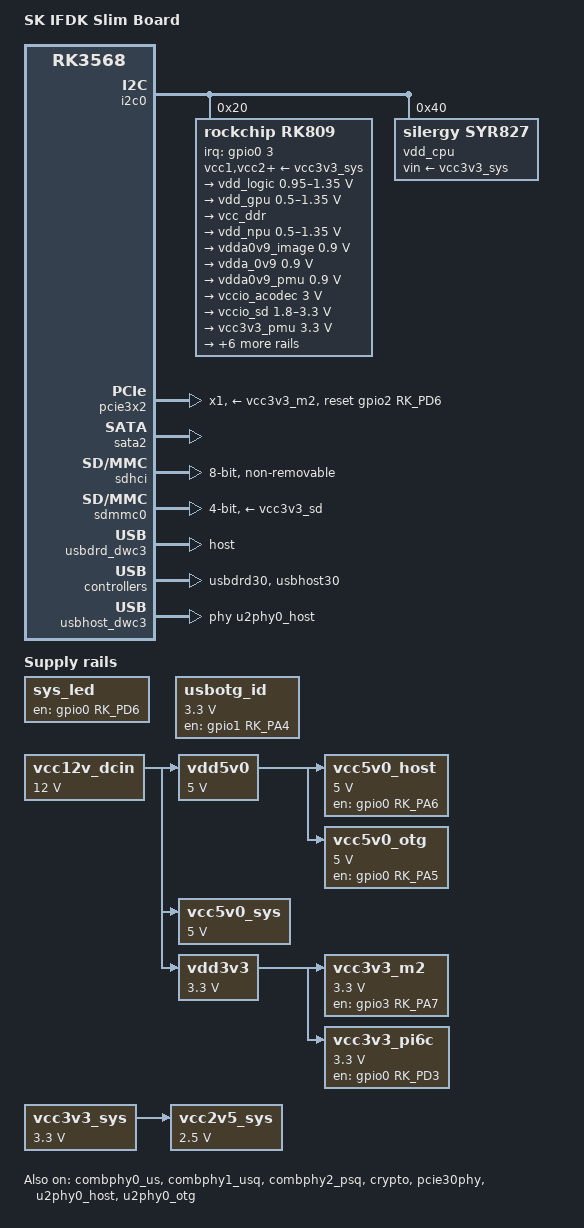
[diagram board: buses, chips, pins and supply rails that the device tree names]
// SPDX-License-Identifier: (GPL-2.0+ OR MIT)
/*
* Copyright (c) 2020 Rockchip Electronics Co., Ltd.
* Copyright (c) 2025 Sergey Kharenko
*/

/dts-v1/;

#include "rk3568.dtsi"
#include "rk3568-u-boot.dtsi"
#include <dt-bindings/input/input.h>

/ {
	model = "SK IFDK Slim Board";
	compatible = "sk,ifdk-slim", "rockchip,rk3568";

    aliases {
		mmc0 = &sdhci;
        mmc1 = &sdmmc0;
		scsi = &sata2;
	};

	sys_led: sys-led {
		u-boot,dm-pre-reloc;
		compatible = "regulator-fixed";
        regulator-boot-on;
		regulator-name = "sys_led";
		enable-active-high;
        pinctrl-names = "default";
		pinctrl-0 = <&sys_led_pin>;
		gpios = <&gpio0 RK_PD6 GPIO_ACTIVE_HIGH>;
	};

	usbotg_id: usbotg-id {
        u-boot,dm-pre-reloc;
        compatible = "regulator-fixed";
        regulator-always-on;
		regulator-boot-on;
        regulator-name = "usbotg_id";
        regulator-min-microvolt = <3300000>;
        regulator-max-microvolt = <3300000>;
        enable-active-high;
		pinctrl-names = "default";
		pinctrl-0 = <&usbotg_en>;
		gpios = <&gpio1 RK_PA4 GPIO_ACTIVE_HIGH>;
	};

	vcc12v_dcin: vcc12v-dcin-regulator {
        u-boot,dm-pre-reloc;
		compatible = "regulator-fixed";
		regulator-name = "vcc12v_dcin";
		regulator-always-on;
		regulator-boot-on;
		regulator-min-microvolt = <12000000>;
		regulator-max-microvolt = <12000000>;
        vin-supply = <&vcc12v_dcin>;
	};

    vdd5v0: vdd5v0 {
        u-boot,dm-pre-reloc;
        compatible = "regulator-fixed";
        regulator-name = "vdd5v0";
        regulator-always-on;
        regulator-boot-on;
        regulator-min-microvolt = <5000000>;
        regulator-max-microvolt = <5000000>;
        vin-supply = <&vcc12v_dcin>;
    };

    vcc5v0_host: vcc5v0-host {
        u-boot,dm-pre-reloc;
		compatible = "regulator-fixed";
        regulator-always-on;
		regulator-boot-on;
		regulator-name = "vcc5v0_host";
		regulator-min-microvolt = <5000000>;
		regulator-max-microvolt = <5000000>;
		pinctrl-names = "default";
		pinctrl-0 = <&usbhost_pwren>;
        enable-active-high;
		gpios = <&gpio0 RK_PA6 GPIO_ACTIVE_HIGH>;
		vin-supply = <&vdd5v0>;
	};

	vcc5v0_otg: vcc5v0-otg {
        u-boot,dm-pre-reloc;
		compatible = "regulator-fixed";
		regulator-always-on;
		regulator-boot-on;
		regulator-name = "vcc5v0_otg";
		regulator-min-microvolt = <5000000>;
		regulator-max-microvolt = <5000000>;
		pinctrl-names = "default";
		pinctrl-0 = <&usbotg_pwren>;
		enable-active-high;
		gpios = <&gpio0 RK_PA5 GPIO_ACTIVE_HIGH>;
		vin-supply = <&vdd5v0>;
	};

    vcc5v0_sys: vcc5v0-sys {
        u-boot,dm-pre-reloc;
        compatible = "regulator-fixed";
        regulator-name = "vcc5v0_sys";
        regulator-always-on;
        regulator-boot-on;
        regulator-min-microvolt = <5000000>;
        regulator-max-microvolt = <5000000>;
        vin-supply = <&vcc12v_dcin>;
    };

    vcc3v3_sys: vcc3v3-sys {
        u-boot,dm-pre-reloc;
        compatible = "regulator-fixed";
        regulator-name = "vcc3v3_sys";
        regulator-always-on;
        regulator-boot-on;
        regulator-min-microvolt = <3300000>;
        regulator-max-microvolt = <3300000>;
    };

    vdd3v3: vdd3v3 {
        u-boot,dm-pre-reloc;
        compatible = "regulator-fixed";
		regulator-always-on;
        regulator-boot-on;
		regulator-name = "vdd3v3";
        regulator-min-microvolt = <3300000>;
        regulator-max-microvolt = <3300000>;
        vin-supply = <&vcc12v_dcin>;
    };

    vcc3v3_m2: vcc3v3-m2 {
        u-boot,dm-pre-reloc;
        compatible = "regulator-fixed";
        regulator-always-on;
		regulator-boot-on;
        regulator-name = "vcc3v3_m2";
        regulator-min-microvolt = <3300000>;
        regulator-max-microvolt = <3300000>;
        enable-active-high;
		pinctrl-names = "default";
		pinctrl-0 = <&m2_pwren>;
		gpios = <&gpio3 RK_PA7 GPIO_ACTIVE_HIGH>;
        startup-delay-us = <5000>;
        vin-supply = <&vdd3v3>;
    };

    vcc3v3_pi6c: vcc3v3-pi6c {
        u-boot,dm-pre-reloc;
        compatible = "regulator-fixed";
		regulator-boot-on;
		regulator-always-on;
        regulator-name = "vcc3v3_pi6c";
        regulator-min-microvolt = <3300000>;
        regulator-max-microvolt = <3300000>;
        enable-active-high;
		pinctrl-names = "default";
		pinctrl-0 = <&pcie_clk_en>;
		gpios = <&gpio0 RK_PD3 GPIO_ACTIVE_HIGH>;
        vin-supply = <&vdd3v3>;
	};

    vcc2v5_sys: vcc2v5-ddr {
        u-boot,dm-pre-reloc;
        compatible = "regulator-fixed";
        regulator-name = "vcc2v5-sys";
        regulator-always-on;
        regulator-boot-on;
        regulator-min-microvolt = <2500000>;
        regulator-max-microvolt = <2500000>;
        vin-supply = <&vcc3v3_sys>;
    };
};

&combphy0_us {
    u-boot,dm-pre-reloc;
    status = "okay";
};

&combphy1_usq {
    u-boot,dm-pre-reloc;
    status = "okay";
};

&combphy2_psq {
	u-boot,dm-pre-reloc;
	status = "okay";
};

&crypto {
	status = "okay";
};

&gpio0 {
	u-boot,dm-pre-reloc;
	status = "okay";
};

&gpio1 {
	u-boot,dm-pre-reloc;
	status = "okay";
};

&gpio3 {
	u-boot,dm-pre-reloc;
	status = "okay";
};

&gpio4 {
	u-boot,dm-pre-reloc;
	status = "okay";
};

&i2c0 {
    u-boot,dm-pre-reloc;
    status = "okay";

    rk809: pmic@20 {
        u-boot,dm-pre-reloc;
        compatible = "rockchip,rk809";
        reg = <0x20>;
        interrupt-parent = <&gpio0>;
        interrupts = <3 IRQ_TYPE_LEVEL_LOW>;

        pinctrl-names = "default", "pmic-sleep",
                "pmic-power-off", "pmic-reset";
        pinctrl-0 = <&pmic_int>;
        pinctrl-1 = <&soc_slppin_slp>, <&rk817_slppin_slp>;
        pinctrl-2 = <&soc_slppin_gpio>, <&rk817_slppin_pwrdn>;
        pinctrl-3 = <&soc_slppin_gpio>, <&rk817_slppin_rst>;

        rockchip,system-power-controller;
        wakeup-source;
        #clock-cells = <1>;
        clock-output-names = "rk808-clkout1", "rk808-clkout2";
        //fb-inner-reg-idxs = <2>;
        /* 1: rst regs (default in codes), 0: rst the pmic */
        pmic-reset-func = <0>;
        /* not save the PMIC_POWER_EN register in uboot */
        not-save-power-en = <1>;

        vcc1-supply = <&vcc3v3_sys>;
        vcc2-supply = <&vcc3v3_sys>;
        vcc3-supply = <&vcc3v3_sys>;
        vcc4-supply = <&vcc3v3_sys>;
        vcc5-supply = <&vcc3v3_sys>;
        vcc6-supply = <&vcc3v3_sys>;
        vcc7-supply = <&vcc3v3_sys>;
        vcc8-supply = <&vcc3v3_sys>;
        vcc9-supply = <&vcc3v3_sys>;

        pwrkey {
            u-boot,dm-pre-reloc;
            status = "okay";
        };

        pinctrl_rk8xx: pinctrl_rk8xx {
            u-boot,dm-pre-reloc;
            gpio-controller;
            #gpio-cells = <2>;

            rk817_slppin_null: rk817_slppin_null {
                u-boot,dm-pre-reloc;
                pins = "gpio_slp";
                function = "pin_fun0";
            };

            rk817_slppin_slp: rk817_slppin_slp {
                u-boot,dm-pre-reloc;
                pins = "gpio_slp";
                function = "pin_fun1";
            };

            rk817_slppin_pwrdn: rk817_slppin_pwrdn {
                u-boot,dm-pre-reloc;
                pins = "gpio_slp";
                function = "pin_fun2";
            };

            rk817_slppin_rst: rk817_slppin_rst {
                u-boot,dm-pre-reloc;
                pins = "gpio_slp";
                function = "pin_fun3";
            };
        };

        regulators {
            u-boot,dm-pre-reloc;
            vdd_logic: DCDC_REG1 {
                u-boot,dm-pre-reloc;
                regulator-always-on;
                regulator-boot-on;
                regulator-min-microvolt = <950000>;
                regulator-max-microvolt = <1350000>;
                regulator-init-microvolt = <950000>;
                regulator-ramp-delay = <6001>;
                regulator-initial-mode = <0x2>;
                regulator-name = "vdd_logic";
                regulator-state-mem {
                    u-boot,dm-pre-reloc;
                    regulator-off-in-suspend;
                };
            };

            vdd_gpu: DCDC_REG2 {
                u-boot,dm-pre-reloc;
                regulator-always-on;
                regulator-boot-on;
                regulator-min-microvolt = <500000>;
                regulator-max-microvolt = <1350000>;
                regulator-init-microvolt = <900000>;
                regulator-ramp-delay = <6001>;
                regulator-initial-mode = <0x2>;
                regulator-name = "vdd_gpu";
                regulator-state-mem {
                    u-boot,dm-pre-reloc;
                    regulator-off-in-suspend;
                };
            };

            vcc_ddr: DCDC_REG3 {
                u-boot,dm-pre-reloc;
                regulator-always-on;
                regulator-boot-on;
                regulator-initial-mode = <0x2>;
                regulator-name = "vcc_ddr";
                regulator-state-mem {
                    u-boot,dm-pre-reloc;
                    regulator-on-in-suspend;
                };
            };

            vdd_npu: DCDC_REG4 {
                u-boot,dm-pre-reloc;
                regulator-always-on;
                regulator-boot-on;
                regulator-min-microvolt = <500000>;
                regulator-max-microvolt = <1350000>;
                regulator-init-microvolt = <900000>;
                regulator-ramp-delay = <6001>;
                regulator-initial-mode = <0x2>;
                regulator-name = "vdd_npu";
                regulator-state-mem {
                    u-boot,dm-pre-reloc;
                    regulator-off-in-suspend;
                };
            };

            vdda0v9_image: LDO_REG1 {
                u-boot,dm-pre-reloc;
                regulator-boot-on;
                regulator-always-on;
                regulator-min-microvolt = <900000>;
                regulator-max-microvolt = <900000>;
                regulator-name = "vdda0v9_image";
                regulator-state-mem {
                    u-boot,dm-pre-reloc;
                    regulator-off-in-suspend;
                };
            };

            vdda_0v9: LDO_REG2 {
                u-boot,dm-pre-reloc;
                regulator-always-on;
                regulator-boot-on;
                regulator-min-microvolt = <900000>;
                regulator-max-microvolt = <900000>;
                regulator-name = "vdda_0v9";
                regulator-state-mem {
                    u-boot,dm-pre-reloc;
                    regulator-off-in-suspend;
                };
            };

            vdda0v9_pmu: LDO_REG3 {
                u-boot,dm-pre-reloc;
                regulator-always-on;
                regulator-boot-on;
                regulator-min-microvolt = <900000>;
                regulator-max-microvolt = <900000>;
                regulator-name = "vdda0v9_pmu";
                regulator-state-mem {
                    u-boot,dm-pre-reloc;
                    regulator-on-in-suspend;
                    regulator-suspend-microvolt = <900000>;
                };
            };

            vccio_acodec: LDO_REG4 {
                u-boot,dm-pre-reloc;
                regulator-always-on;
                regulator-boot-on;
                regulator-min-microvolt = <3000000>;
                regulator-max-microvolt = <3000000>;
                regulator-name = "vccio_acodec";
                regulator-state-mem {
                    u-boot,dm-pre-reloc;
                    regulator-off-in-suspend;
                };
            };

            vccio_sd: LDO_REG5 {
                u-boot,dm-pre-reloc;
                regulator-always-on;
                regulator-boot-on;
                regulator-min-microvolt = <1800000>;
                regulator-max-microvolt = <3300000>;
                regulator-name = "vccio_sd";
                regulator-state-mem {
                    u-boot,dm-pre-reloc;
                    regulator-off-in-suspend;
                };
            };

            vcc3v3_pmu: LDO_REG6 {
                u-boot,dm-pre-reloc;
                regulator-always-on;
                regulator-boot-on;
                regulator-min-microvolt = <3300000>;
                regulator-max-microvolt = <3300000>;
                regulator-name = "vcc3v3_pmu";
                regulator-state-mem {
                    u-boot,dm-pre-reloc;
                    regulator-on-in-suspend;
                    regulator-suspend-microvolt = <3300000>;
                };
            };

            vcca_1v8: LDO_REG7 {
                u-boot,dm-pre-reloc;
                regulator-always-on;
                regulator-boot-on;
                regulator-min-microvolt = <1800000>;
                regulator-max-microvolt = <1800000>;
                regulator-name = "vcca_1v8";
                regulator-state-mem {
                    u-boot,dm-pre-reloc;
                    regulator-off-in-suspend;
                };
            };

            vcca1v8_pmu: LDO_REG8 {
                u-boot,dm-pre-reloc;
                regulator-always-on;
                regulator-boot-on;
                regulator-min-microvolt = <1800000>;
                regulator-max-microvolt = <1800000>;
                regulator-name = "vcca1v8_pmu";
                regulator-state-mem {
                    u-boot,dm-pre-reloc;
                    regulator-on-in-suspend;
                    regulator-suspend-microvolt = <1800000>;
                };
            };

            vcca1v8_image: LDO_REG9 {
                u-boot,dm-pre-reloc;
                regulator-always-on;
                regulator-boot-on;
                regulator-min-microvolt = <1800000>;
                regulator-max-microvolt = <1800000>;
                regulator-name = "vcca1v8_image";
                regulator-state-mem {
                    u-boot,dm-pre-reloc;
                    regulator-off-in-suspend;
                };
            };

            vcc_1v8: DCDC_REG5 {
                u-boot,dm-pre-reloc;
                regulator-always-on;
                regulator-boot-on;
                regulator-min-microvolt = <1800000>;
                regulator-max-microvolt = <1800000>;
                regulator-name = "vcc_1v8";
                regulator-state-mem {
                    u-boot,dm-pre-reloc;
                    regulator-off-in-suspend;
                };
            };

            vcc_3v3: SWITCH_REG1 {
                u-boot,dm-pre-reloc;
                regulator-always-on;
                regulator-boot-on;
                regulator-name = "vcc_3v3";
                regulator-state-mem {
                    u-boot,dm-pre-reloc;
                    regulator-off-in-suspend;
                };
            };

            vcc3v3_sd: SWITCH_REG2 {
                u-boot,dm-pre-reloc;
                regulator-always-on;
                regulator-boot-on;
                regulator-name = "vcc3v3_sd";
                regulator-state-mem {
                    u-boot,dm-pre-reloc;
                    regulator-off-in-suspend;
                };
            };
        };
    };

    vdd_cpu: syr837@40 {
        u-boot,dm-pre-reloc;
        compatible = "silergy,syr827";
        reg = <0x40>;
        vin-supply = <&vcc3v3_sys>;
        regulator-compatible = "fan53555-reg";
        regulator-name = "vdd_cpu";
        regulator-min-microvolt = <712500>;
        regulator-max-microvolt = <1390000>;
        regulator-ramp-delay = <2300>;
        fcs,suspend-voltage-selector = <1>;
        regulator-always-on;
        regulator-boot-on;
        regulator-initial-state = <3>;
        regulator-state-mem {
            u-boot,dm-pre-reloc;
            regulator-off-in-suspend;
        };
    }; 
};

&pcie30x2m1_pins {
    u-boot,dm-spl;
};

&pcie30phy {
    u-boot,dm-pre-reloc;
    status = "okay";
};

&pcie30_phy_grf {
    u-boot,dm-pre-reloc;
};

// &pcie3x1 {
//     u-boot,dm-pre-reloc;
//     rockchip,bifurcation;
// 	vpcie3v3-supply = <&vdd_4g>;
// 	status = "okay";
// };

&pcie3x2 {
    u-boot,dm-pre-reloc;
    rockchip,bifurcation;
	num-lanes = <1>;
	reset-gpios = <&gpio2 RK_PD6 GPIO_ACTIVE_HIGH>;
    vpcie3v3-supply = <&vcc3v3_m2>;
	pinctrl-0 = <&pcie30x2m1_pins>; 
	status = "okay";
};

&pinctrl {
    u-boot,dm-spl;

	gpio-leds {
        u-boot,dm-pre-reloc;
		sys_led_pin: sys-led-pin {
            u-boot,dm-pre-reloc;
			rockchip,pins = <0 RK_PD6 RK_FUNC_GPIO &pcfg_pull_none>;
		};
	};

    pcie {
        u-boot,dm-pre-reloc;
		m2_pwren: m2-pwren {
            u-boot,dm-pre-reloc;
			rockchip,pins = <3 RK_PA7 RK_FUNC_GPIO &pcfg_pull_none>;
		};

		pcie_clk_en: pcie-clk-en {
            u-boot,dm-pre-reloc;
			rockchip,pins = <0 RK_PD3 RK_FUNC_GPIO &pcfg_pull_up>;
		};
	};

    pmic {
        u-boot,dm-pre-reloc;
        pmic_int: pmic_int {
            u-boot,dm-pre-reloc;
            rockchip,pins =
                <0 RK_PA3 RK_FUNC_GPIO &pcfg_pull_up>;
        };

        soc_slppin_gpio: soc_slppin_gpio {
            u-boot,dm-pre-reloc;
            rockchip,pins =
                <0 RK_PA2 RK_FUNC_GPIO &pcfg_output_low>;
        };

        soc_slppin_slp: soc_slppin_slp {
            u-boot,dm-pre-reloc;
            rockchip,pins =
                <0 RK_PA2 1 &pcfg_pull_none>;
        };

        soc_slppin_rst: soc_slppin_rst {
            u-boot,dm-pre-reloc;
            rockchip,pins =
                <0 RK_PA2 2 &pcfg_pull_none>;
        };
    };

    usb {
        u-boot,dm-pre-reloc;
		usbotg_pwren: usbotg-pwren {
            u-boot,dm-pre-reloc;
			rockchip,pins = <0 RK_PA5 RK_FUNC_GPIO &pcfg_pull_none>;
		};

		usbhost_pwren: usbhost-pwren {
            u-boot,dm-pre-reloc;
			rockchip,pins = <0 RK_PA6 RK_FUNC_GPIO &pcfg_pull_none>;
		};

		usbotg_en: usbotg-en {
            u-boot,dm-pre-reloc;
			rockchip,pins = <1 RK_PA4 RK_FUNC_GPIO &pcfg_pull_up>;
		};
	};
};

&pipe_phy_grf1 {
	u-boot,dm-pre-reloc;
};

&pmu_io_domains {
    u-boot,dm-pre-reloc;
    pmuio2-supply = <&vcc3v3_pmu>;
    vccio1-supply = <&vccio_acodec>;
    vccio3-supply = <&vccio_sd>;
    vccio4-supply = <&vcc_1v8>;
    vccio5-supply = <&vcc_3v3>;
    vccio6-supply = <&vcc_1v8>;
    vccio7-supply = <&vcc_3v3>;
    status = "okay";
};

&sata2 {
    u-boot,dm-pre-reloc;
    status = "okay";
};

&sdhci {
    u-boot,dm-pre-reloc;
    bus-width = <8>;
    supports-emmc;
    non-removable;
    max-frequency = <200000000>;
    status = "okay";
};

&sdmmc0 {
    u-boot,dm-pre-reloc;
    max-frequency = <150000000>;
    supports-sd;
    bus-width = <4>;
    cap-mmc-highspeed;
    cap-sd-highspeed;
    disable-wp;
    sd-uhs-sdr104;
    vmmc-supply = <&vcc3v3_sd>;
    vqmmc-supply = <&vccio_sd>;
    pinctrl-names = "default";
    pinctrl-0 = <&sdmmc0_bus4 &sdmmc0_clk &sdmmc0_cmd &sdmmc0_det>;
    status = "okay";
};

&u2phy0_host {
    u-boot,dm-pre-reloc;
    dr_mode = "host";
	phy-supply = <&vcc5v0_host>;
    status = "okay";
};

&u2phy0_otg {
    u-boot,dm-pre-reloc;
	dr_mode = "host";
	vbus-supply = <&vcc5v0_otg>;
    status = "okay";
};

&usbdrd_dwc3 {
    u-boot,dm-pre-reloc;
    dr_mode = "host";
    maximum-speed = "super-speed";
    status = "okay";
};

&usbdrd30 {
    u-boot,dm-pre-reloc;
    status = "okay";
};

&usbhost_dwc3 {
    u-boot,dm-pre-reloc;
    phys = <&u2phy0_host>, <&combphy1_usq PHY_TYPE_USB3>;
    phy-names = "usb2-phy", "usb3-phy";
    maximum-speed = "super-speed";
    status = "okay";
};

&usbhost30 {
    u-boot,dm-pre-reloc;
    status = "okay";
};
